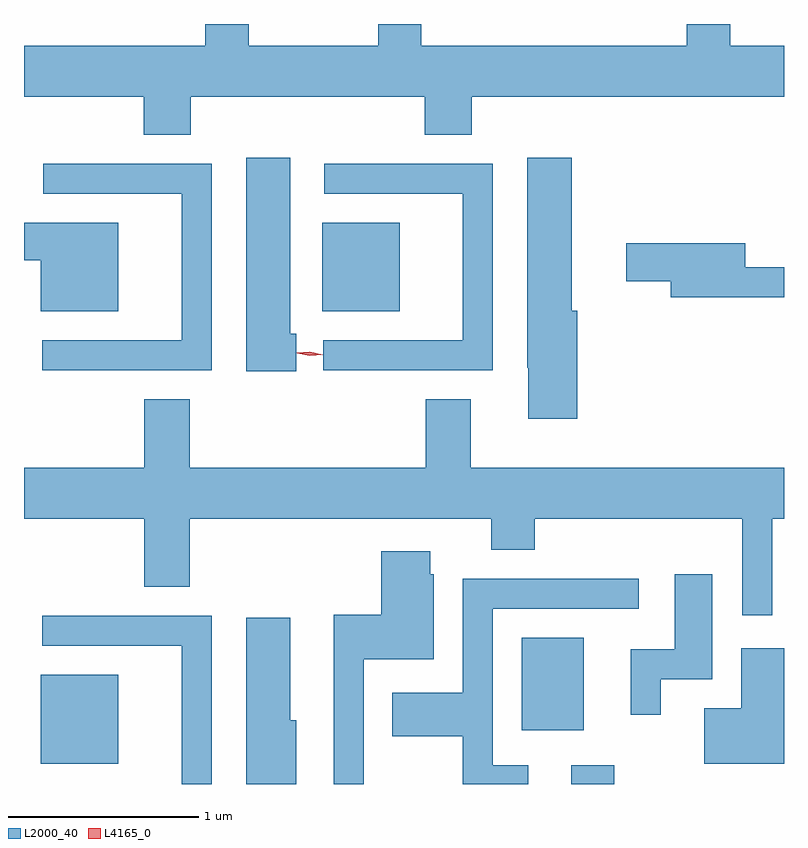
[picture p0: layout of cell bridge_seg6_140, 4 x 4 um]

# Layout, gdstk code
import gdstk
lib = gdstk.Library(unit=1e-6, precision=1e-09)
def R(c, l, rs):  # rectangles x0, y0, x1, y1
    for r in rs: c.add(gdstk.rectangle(r[:2], r[2:], *l))
def P(c, l, *ps):  # polygons
    for p in ps: c.add(gdstk.Polygon(p, *l))
L2000_40 = (2000, 40)
L4165_0 = (4165, 0)

bridge_seg6_140 = lib.new_cell('bridge_seg6_140')
R(bridge_seg6_140, L2000_40, [(1028.011,1659.639,1028.239,1659.739), (1025.221,1659.746,1025.629,1660.214), (1027.751,1659.921,1028.079,1660.409), (1026.701,1662.126,1027.109,1662.594)])
P(bridge_seg6_140, L2000_40, [(1025.132,1663.256),(1025.761,1663.256),(1025.761,1663.056),(1026.009,1663.056),(1026.009,1663.256),(1027.241,1663.256),(1027.241,1663.056),(1027.489,1663.056),(1027.489,1663.256),(1029.132,1663.256),(1029.132,1663.524),(1028.849,1663.524),(1028.849,1663.639),(1028.621,1663.639),(1028.621,1663.524),(1027.224,1663.524),(1027.224,1663.639),(1026.996,1663.639),(1026.996,1663.524),(1026.314,1663.524),(1026.314,1663.639),(1026.086,1663.639),(1026.086,1663.524),(1025.132,1663.524)],
  [(1028.044,1662.129),(1028.014,1662.129),(1028.014,1662.934),(1027.781,1662.934),(1027.781,1661.83),(1027.786,1661.83),(1027.786,1661.561),(1028.044,1661.561)],
  [(1026.564,1662.009),(1026.534,1662.009),(1026.534,1662.934),(1026.301,1662.934),(1026.301,1661.811),(1026.564,1661.811)],
  [(1026.119,1662.904),(1025.233,1662.904),(1025.233,1662.746),(1025.961,1662.746),(1025.961,1661.974),(1025.228,1661.974),(1025.228,1661.816),(1026.119,1661.816)],
  [(1027.599,1662.904),(1026.713,1662.904),(1026.713,1662.746),(1027.441,1662.746),(1027.441,1661.974),(1026.708,1661.974),(1026.708,1661.816),(1027.599,1661.816)],
  [(1025.629,1662.594),(1025.132,1662.594),(1025.132,1662.396),(1025.221,1662.396),(1025.221,1662.126),(1025.629,1662.126)],
  [(1029.132,1662.359),(1028.929,1662.359),(1028.929,1662.484),(1028.301,1662.484),(1028.301,1662.286),(1028.536,1662.286),(1028.536,1662.201),(1029.132,1662.201)],
  [(1029.069,1661.036),(1029.132,1661.036),(1029.132,1661.304),(1027.484,1661.304),(1027.484,1661.664),(1027.246,1661.664),(1027.246,1661.304),(1026.004,1661.304),(1026.004,1661.664),(1025.766,1661.664),(1025.766,1661.304),(1025.132,1661.304),(1025.132,1661.036),(1025.766,1661.036),(1025.766,1660.676),(1026.004,1660.676),(1026.004,1661.036),(1027.591,1661.036),(1027.591,1660.871),(1027.819,1660.871),(1027.819,1661.036),(1028.911,1661.036),(1028.911,1660.528),(1029.069,1660.528)],
  [(1026.919,1660.296),(1027.289,1660.296),(1027.289,1660.744),(1027.269,1660.744),(1027.269,1660.864),(1027.011,1660.864),(1027.011,1660.529),(1026.761,1660.529),(1026.761,1659.639),(1026.919,1659.639)],
  [(1028.484,1660.191),(1028.754,1660.191),(1028.754,1660.744),(1028.556,1660.744),(1028.556,1660.349),(1028.326,1660.349),(1028.326,1660.003),(1028.484,1660.003)],
  [(1027.787,1659.739),(1027.599,1659.739),(1027.599,1660.561),(1028.368,1660.561),(1028.368,1660.719),(1027.441,1660.719),(1027.441,1660.119),(1027.071,1660.119),(1027.071,1659.891),(1027.441,1659.891),(1027.441,1659.639),(1027.787,1659.639)],
  [(1026.119,1660.524),(1025.228,1660.524),(1025.228,1660.366),(1025.961,1660.366),(1025.961,1659.639),(1026.119,1659.639)],
  [(1026.564,1659.974),(1026.534,1659.974),(1026.534,1660.514),(1026.301,1660.514),(1026.301,1659.639),(1026.564,1659.639)],
  [(1029.132,1660.354),(1028.906,1660.354),(1028.906,1660.039),(1028.711,1660.039),(1028.711,1659.746),(1029.132,1659.746)])
P(bridge_seg6_140, L4165_0, [(1026.636,1661.894),(1026.568,1661.908),(1026.567,1661.908),(1026.568,1661.909),(1026.637,1661.913),(1026.705,1661.899),(1026.705,1661.898),(1026.705,1661.898)],
  [(1026.636,1661.892),(1026.57,1661.906),(1026.57,1661.906),(1026.57,1661.906),(1026.636,1661.912),(1026.702,1661.899),(1026.702,1661.898),(1026.702,1661.898)])

lib.write_gds('bridge_seg6_140.gds')
